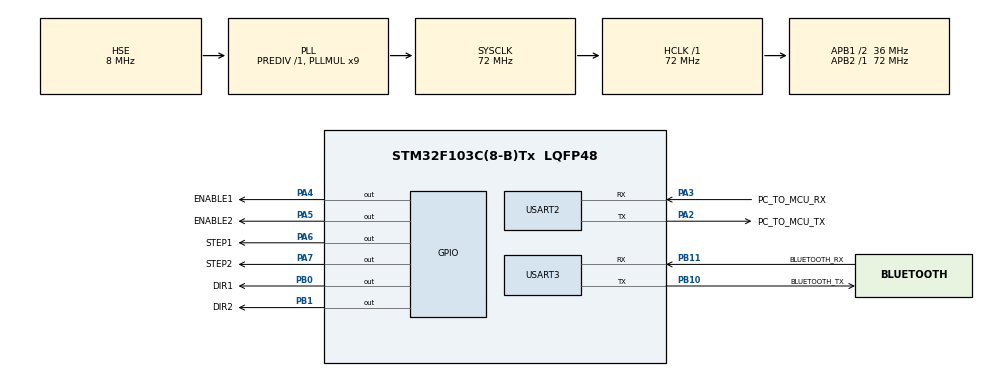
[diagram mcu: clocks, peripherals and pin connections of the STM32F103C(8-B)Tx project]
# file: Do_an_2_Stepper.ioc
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Dma.Request0=USART2_RX
Dma.Request1=USART2_TX
Dma.Request2=USART3_RX
Dma.Request3=USART3_TX
Dma.USART2_RX.0.Direction=DMA_PERIPH_TO_MEMORY
Dma.USART2_RX.0.Instance=DMA1_Channel6
Dma.USART2_RX.0.MemDataAlignment=DMA_MDATAALIGN_BYTE
Dma.USART2_RX.0.MemInc=DMA_MINC_ENABLE
Dma.USART2_RX.0.Mode=DMA_CIRCULAR
Dma.USART2_RX.0.PeriphDataAlignment=DMA_PDATAALIGN_BYTE
Dma.USART2_RX.0.PeriphInc=DMA_PINC_DISABLE
Dma.USART2_RX.0.Priority=DMA_PRIORITY_LOW
Dma.USART2_TX.1.Direction=DMA_MEMORY_TO_PERIPH
Dma.USART2_TX.1.Instance=DMA1_Channel7
Dma.USART2_TX.1.MemDataAlignment=DMA_MDATAALIGN_BYTE
Dma.USART2_TX.1.MemInc=DMA_MINC_ENABLE
Dma.USART2_TX.1.Mode=DMA_NORMAL
Dma.USART2_TX.1.PeriphDataAlignment=DMA_PDATAALIGN_BYTE
Dma.USART2_TX.1.PeriphInc=DMA_PINC_DISABLE
Dma.USART2_TX.1.Priority=DMA_PRIORITY_LOW
Dma.USART3_RX.2.Direction=DMA_PERIPH_TO_MEMORY
Dma.USART3_RX.2.Instance=DMA1_Channel3
Dma.USART3_RX.2.MemDataAlignment=DMA_MDATAALIGN_BYTE
Dma.USART3_RX.2.MemInc=DMA_MINC_ENABLE
Dma.USART3_RX.2.Mode=DMA_CIRCULAR
Dma.USART3_RX.2.PeriphDataAlignment=DMA_PDATAALIGN_BYTE
Dma.USART3_RX.2.PeriphInc=DMA_PINC_DISABLE
Dma.USART3_RX.2.Priority=DMA_PRIORITY_LOW
Dma.USART3_TX.3.Direction=DMA_MEMORY_TO_PERIPH
Dma.USART3_TX.3.Instance=DMA1_Channel2
Dma.USART3_TX.3.MemDataAlignment=DMA_MDATAALIGN_BYTE
Dma.USART3_TX.3.MemInc=DMA_MINC_ENABLE
Dma.USART3_TX.3.Mode=DMA_NORMAL
Dma.USART3_TX.3.PeriphDataAlignment=DMA_PDATAALIGN_BYTE
Dma.USART3_TX.3.PeriphInc=DMA_PINC_DISABLE
Dma.USART3_TX.3.Priority=DMA_PRIORITY_LOW
Mcu.Family=STM32F1
Mcu.Name=STM32F103C(8-B)Tx
Mcu.Package=LQFP48
NVIC.DMA1_Channel2_IRQn=true\:0\:0\:false\:false\:true\:false\:true\:true
NVIC.DMA1_Channel3_IRQn=true\:0\:0\:false\:false\:true\:false\:true\:true
NVIC.DMA1_Channel6_IRQn=true\:0\:0\:false\:false\:true\:false\:true\:true
NVIC.DMA1_Channel7_IRQn=true\:0\:0\:false\:false\:true\:false\:true\:true
NVIC.PriorityGroup=NVIC_PRIORITYGROUP_4
NVIC.TIM2_IRQn=true\:0\:0\:true\:false\:true\:true\:true\:true
NVIC.TIM3_IRQn=true\:0\:0\:false\:false\:true\:true\:true\:true
NVIC.USART2_IRQn=true\:0\:0\:true\:false\:true\:true\:true\:true
NVIC.USART3_IRQn=true\:0\:0\:true\:false\:true\:true\:true\:true
PA13.Mode=Serial_Wire
PA13.Signal=SYS_JTMS-SWDIO
PA14.Mode=Serial_Wire
PA14.Signal=SYS_JTCK-SWCLK
PA2.GPIO_Label=PC_TO_MCU_TX
PA2.Mode=Asynchronous
PA2.Signal=USART2_TX
PA3.GPIO_Label=PC_TO_MCU_RX
PA3.Mode=Asynchronous
PA3.Signal=USART2_RX
PA4.GPIO_Label=ENABLE1
PA4.Signal=GPIO_Output
PA5.GPIO_Label=ENABLE2
PA5.Signal=GPIO_Output
PA6.GPIO_Label=STEP1
PA6.Signal=GPIO_Output
PA7.GPIO_Label=STEP2
PA7.Signal=GPIO_Output
PB0.GPIO_Label=DIR1
PB0.Signal=GPIO_Output
PB1.GPIO_Label=DIR2
PB1.Signal=GPIO_Output
PB10.GPIO_Label=BLUETOOTH_TX
PB10.Mode=Asynchronous
PB10.Signal=USART3_TX
PB11.GPIO_Label=BLUETOOTH_RX
PB11.Mode=Asynchronous
PB11.Signal=USART3_RX
PD0-OSC_IN.Mode=HSE-External-Oscillator
PD0-OSC_IN.Signal=RCC_OSC_IN
PD1-OSC_OUT.Mode=HSE-External-Oscillator
PD1-OSC_OUT.Signal=RCC_OSC_OUT
ProjectManager.HeapSize=0x200
ProjectManager.StackSize=0x400
ProjectManager.TargetToolchain=STM32CubeIDE
RCC.AHBFreq_Value=72000000
RCC.APB1CLKDivider=RCC_HCLK_DIV2
RCC.APB1Freq_Value=36000000
RCC.APB1TimFreq_Value=72000000
RCC.APB2Freq_Value=72000000
RCC.APB2TimFreq_Value=72000000
RCC.HCLKFreq_Value=72000000
RCC.PLLMUL=RCC_PLL_MUL9
RCC.PLLSourceVirtual=RCC_PLLSOURCE_HSE
RCC.SYSCLKFreq_VALUE=72000000
RCC.SYSCLKSource=RCC_SYSCLKSOURCE_PLLCLK
RCC.USBFreq_Value=72000000
TIM2.Period=2000-1
TIM2.Prescaler=720-1
TIM3.Period=20-1
TIM3.Prescaler=36-1
USART2.VirtualMode=VM_ASYNC
USART3.VirtualMode=VM_ASYNC
VP_TIM2_VS_ClockSourceINT.Mode=Internal
VP_TIM3_VS_ClockSourceINT.Mode=Internal
board=custom

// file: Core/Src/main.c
/* USER CODE BEGIN Header */
/**
  ******************************************************************************
  * @file           : main.c
  * @brief          : Main program body
  ******************************************************************************
  * @attention
  *
  * Copyright (c) 2024 STMicroelectronics.
  * All rights reserved.
  *
  * This software is licensed under terms that can be found in the LICENSE file
  * in the root directory of this software component.
  * If no LICENSE file comes with this software, it is provided AS-IS.
  *
  ******************************************************************************
  */
/* USER CODE END Header */
#include "main.h"

/* USER CODE BEGIN Includes */
#include "math.h"
#include "stdlib.h"
#include "stdio.h"
#include "string.h"
#include "Robot_control.h"
/* USER CODE END Includes */

/* USER CODE BEGIN PTD */

#define CalibR 0
#define Test_UART_Receive 0
#define Test_UART_Transmit 0

//////
#define MAX_RPM 380
#define PULSE_PER_ROUND 200
#define PI 3.141592654f

/* USER CODE END PTD */

TIM_HandleTypeDef htim2;
TIM_HandleTypeDef htim3;

UART_HandleTypeDef huart2;
UART_HandleTypeDef huart3;
DMA_HandleTypeDef hdma_usart2_rx;
DMA_HandleTypeDef hdma_usart2_tx;
DMA_HandleTypeDef hdma_usart3_rx;
DMA_HandleTypeDef hdma_usart3_tx;

/* USER CODE BEGIN PV */
//int8_t Dir_M1, Dir_M2, Dir_M3;                                               //Biến xác định hoạt động của động cơ và chi�?u quay Dir_Mx >0 quay thuận , Dir_Mx <0 quay ngược Dir_Mx =0 motor ngừng quay
//volatile int16_t Count_timer1, Count_timer2;                       //đếm các lần TIMER xuất hiện trong chu kỳ xung STEP
//volatile int32_t Step1, Step2, Step3;
//int16_t Count_TOP1, Count_BOT1, Count_TOP2, Count_BOT2;  //vị trí cuối của phần cao và cuối phần thấp trong 1 chu kỳ xung STEP

StepperHandlle_Typedef Stepper1;
StepperHandlle_Typedef Stepper2;

uint8_t tx_buffer2[64];
uint8_t rx_buffer2[64];
uint8_t final_rx_buffer2[64];
uint8_t bluetooth_rx_buffer[8];
uint8_t bluetooth_tx_buffer[64];
Robot_model_typedef R;
uint8_t timer2_int;
uint8_t timer3_int;
int8_t bluetooth_allow_tx;
int8_t bluetooth_rx_check;
int8_t uart2_allow_tx;
int8_t uart2_rx_check;
volatile uint8_t c_index;

/* USER CODE END PV */

void SystemClock_Config(void);
static void MX_GPIO_Init(void);
static void MX_DMA_Init(void);
static void MX_TIM3_Init(void);
static void MX_USART2_UART_Init(void);
static void MX_USART3_UART_Init(void);
static void MX_TIM2_Init(void);
/* USER CODE BEGIN PFP */
void HAL_TIM_PeriodElapsedCallback(TIM_HandleTypeDef *htim)
{
	if(htim->Instance==TIM3)
	{
		timer3_int=1;
	}
	else if(htim->Instance==TIM2)
	{
		timer2_int=1;
	}
}

void HAL_UART_RxHalfCpltCallback(UART_HandleTypeDef *huart)
{
	if(huart->Instance==USART2)
	{
		memcpy(final_rx_buffer2,rx_buffer2,32);
	}
}

void HAL_UART_RxCpltCallback(UART_HandleTypeDef *huart)
{
	if(huart->Instance==USART1)
	{

	}
	else if(huart->Instance==USART2)
	{
		memcpy(final_rx_buffer2+32,rx_buffer2+32,32);
		uart2_rx_check=1;
	}
	else if(huart->Instance==USART3)
	{
		bluetooth_rx_check=1;
	}
}
/* USER CODE END PFP */

/* USER CODE BEGIN 0 */
void StepperSpeed(float v,StepperHandlle_Typedef *Stepper,controlDirection con)//(-200<y<200)
{
	float pps=v*200/60;
	float a=50000/pps;

    if (a < 0)
    {
    	Stepper->Dir_M = -1;
    }
    else if (a > 0)
    {
    	Stepper->Dir_M = 1;
    }
	else
		Stepper->Dir_M = 0;
    Stepper->Dir_M*=con;
	Stepper->Count_BOT = abs((int)a);
	Stepper->Count_TOP =  abs((int)a/2);
}

void ReadStepper(StepperHandlle_Typedef *stepper,readDirection read)
{
	stepper->delta_step=stepper->Step-stepper->previous_step;
	stepper->delta_step*=read;
	stepper->distance=((float)stepper->delta_step)/PULSE_PER_ROUND*2*PI*WHEEL_RADIUS;
	stepper->previous_step=stepper->Step;
}

void DealTimer3()
{
#if CalibR==1
		    	  if(Stepper1.Step==2000)
		    	  {
		    		  StepperSpeed(0,&Stepper1, STEPPER1_CONTROL);
		    		  StepperSpeed(0, &Stepper2, STEPPER2_CONTROL);
		    	  }
#endif
		if (Stepper1.Dir_M != 0)
		{                                                          //nếu MOTOR cho phép quay
			HAL_GPIO_WritePin(ENABLE1_GPIO_Port, ENABLE1_Pin, 0);
		    if (Stepper1.Dir_M > 0)
			{
		    	HAL_GPIO_WritePin(DIR1_GPIO_Port, DIR1_Pin, 1);
			}
		    else if (Stepper1.Dir_M < 0)
		    {
		    	HAL_GPIO_WritePin(DIR1_GPIO_Port,DIR1_Pin,0);
		    }
		    Stepper1.Count_timer++;
		    if (Stepper1.Count_timer <= Stepper1.Count_TOP)
		    	HAL_GPIO_WritePin(STEP1_GPIO_Port, STEP1_Pin, 1);//nếu là nhịp nằm trong phần cao trong xung STEP
		    else
		    	HAL_GPIO_WritePin(STEP1_GPIO_Port, STEP1_Pin, 0);                                                 //nếu là nhịp nằm trong phần thấp của xung STEP
		    if (Stepper1.Count_timer > Stepper1.Count_BOT)
		    {
		      Stepper1.Count_timer = 0;                             //nếu là nhịp cuối của 1 xung STEP
		      if (Stepper1.Dir_M > 0)
		      {
		    	  Stepper1.Step++;
		      }
		      else if (Stepper1.Dir_M < 0)
		      {
		    	  Stepper1.Step--;
		      }
		    }
		}
		else
		{
			HAL_GPIO_WritePin(ENABLE1_GPIO_Port,ENABLE1_Pin, 1);
		}
		if(Stepper2.Dir_M!=0)
		{
			HAL_GPIO_WritePin(ENABLE2_GPIO_Port, ENABLE2_Pin, 0);
			if (Stepper2.Dir_M > 0)
			{
				HAL_GPIO_WritePin(DIR2_GPIO_Port, DIR2_Pin, 1);
			}
			else if (Stepper2.Dir_M < 0)
			{
				HAL_GPIO_WritePin(DIR2_GPIO_Port,DIR2_Pin,0);
			}
			Stepper2.Count_timer++;
			if (Stepper2.Count_timer <= Stepper2.Count_TOP)
				HAL_GPIO_WritePin(STEP2_GPIO_Port, STEP2_Pin, 1);//nếu là nhịp nằm trong phần cao trong xung STEP
			else
				HAL_GPIO_WritePin(STEP2_GPIO_Port, STEP2_Pin, 0);                                                 //nếu là nhịp nằm trong phần thấp của xung STEP
			if (Stepper2.Count_timer > Stepper2.Count_BOT)
			{
			  Stepper2.Count_timer = 0;                             //nếu là nhịp cuối của 1 xung STEP
			  if (Stepper2.Dir_M > 0)
			  {
				  Stepper2.Step++;
			  }
			  else if (Stepper2.Dir_M < 0)
			  {
				  Stepper2.Step--;
			  }
			}
		}
		else
		{
			HAL_GPIO_WritePin(ENABLE2_GPIO_Port,ENABLE2_Pin, 1);
		}
}

void DealTimer2()
{
	ReadStepper(&Stepper1,STEPPER1_READ);
	ReadStepper(&Stepper2,STEPPER2_READ);
	calculatePredictionValue(&R, Stepper1.distance,Stepper2.distance);
#if Test_UART_Receive==0
#if Test_UART_Transmit==0
	sprintf((char*)tx_buffer2,"%f/%f/%f\n",(R.x_prediction-R.x_correction),(R.y_prediction-R.y_correction),(R.theta_prediction-R.theta_correction));
#endif
#if Test_UART_Transmit==1
	sprintf((char*)tx_buffer2,"%f/%f/%f\n",1.0f,1.0f,1.0f);
#endif

	HAL_UART_Transmit_DMA(&huart2, tx_buffer2, strlen((char*)tx_buffer2));
#endif
}
/* USER CODE END 0 */

int main(void)
{

  /* MCU Configuration--------------------------------------------------------*/

  /* Reset of all peripherals, Initializes the Flash interface and the Systick. */
  HAL_Init();

  /* Configure the system clock */
  SystemClock_Config();

  /* Initialize all configured peripherals */
  MX_GPIO_Init();
  MX_DMA_Init();
  MX_TIM3_Init();
  MX_USART2_UART_Init();
  MX_USART3_UART_Init();
  MX_TIM2_Init();
  /* USER CODE BEGIN 2 */
#if CalibR ==1
  Stepper1.Step=0;
  Stepper1.previous_step=0;
  Stepper2.Step=0;
  Stepper2.previous_step=0;
#endif
  HAL_TIM_Base_Start_IT(&htim3);
  HAL_TIM_Base_Start_IT(&htim2);
  HAL_UART_Receive_DMA(&huart2, rx_buffer2, 64);
  HAL_UART_Receive_DMA(&huart3, bluetooth_rx_buffer, 1);
#if CalibR==1
  StepperSpeed(10, &Stepper1,STEPPER1_CONTROL);
  StepperSpeed(10, &Stepper2,STEPPER2_CONTROL);
#endif
  /* USER CODE END 2 */

  /* Infinite loop */
  while (1)
  {

    /* USER CODE BEGIN 3 */

	if(timer3_int==1)
	{
		DealTimer3();
		timer3_int=0;
	}
	if(timer2_int==1)
	{
		DealTimer2();
		timer2_int=0;
	}
	if(uart2_rx_check==1)
	{
		char *end;
		R.x_correction=strtof((char*)final_rx_buffer2,&end);
		R.y_correction=strtof(end,&end);
		R.theta_correction=strtof(end,NULL);
		R.x_prediction=R.x_correction;
		R.y_prediction=R.y_correction;
		R.theta_prediction=R.theta_correction;
#if Test_UART_Receive==1
		sprintf((char*)tx_buffer2,"%f/%f/%f\n",(R.x_correction),(R.y_correction),(R.theta_correction));
		HAL_UART_Transmit_DMA(&huart2, tx_buffer2, strlen((char*)tx_buffer2));
#endif
		uart2_rx_check=0;
	}
	if(bluetooth_rx_check==1)
	{
		BluetoothFrameHandler(bluetooth_rx_buffer,bluetooth_tx_buffer,&R);
		bluetooth_rx_check=0;
	}
	if(bluetooth_allow_tx==1)
	{
		sprintf((char*)bluetooth_tx_buffer,"%f/%f/%f\n",R.x_correction,R.y_correction,R.theta_correction);
		HAL_UART_Transmit_DMA(&huart3, bluetooth_tx_buffer,strlen((char*)bluetooth_tx_buffer));
		bluetooth_allow_tx=0;
	}
  }
  /* USER CODE END 3 */
}

void SystemClock_Config(void)
{
  RCC_OscInitTypeDef RCC_OscInitStruct = {0};
  RCC_ClkInitTypeDef RCC_ClkInitStruct = {0};

  /** Initializes the RCC Oscillators according to the specified parameters
  * in the RCC_OscInitTypeDef structure.
  */
  RCC_OscInitStruct.OscillatorType = RCC_OSCILLATORTYPE_HSE;
  RCC_OscInitStruct.HSEState = RCC_HSE_ON;
  RCC_OscInitStruct.HSEPredivValue = RCC_HSE_PREDIV_DIV1;
  RCC_OscInitStruct.HSIState = RCC_HSI_ON;
  RCC_OscInitStruct.PLL.PLLState = RCC_PLL_ON;
  RCC_OscInitStruct.PLL.PLLSource = RCC_PLLSOURCE_HSE;
  RCC_OscInitStruct.PLL.PLLMUL = RCC_PLL_MUL9;
  if (HAL_RCC_OscConfig(&RCC_OscInitStruct) != HAL_OK)
  {
    Error_Handler();
  }

  /** Initializes the CPU, AHB and APB buses clocks
  */
  RCC_ClkInitStruct.ClockType = RCC_CLOCKTYPE_HCLK|RCC_CLOCKTYPE_SYSCLK
                              |RCC_CLOCKTYPE_PCLK1|RCC_CLOCKTYPE_PCLK2;
  RCC_ClkInitStruct.SYSCLKSource = RCC_SYSCLKSOURCE_PLLCLK;
  RCC_ClkInitStruct.AHBCLKDivider = RCC_SYSCLK_DIV1;
  RCC_ClkInitStruct.APB1CLKDivider = RCC_HCLK_DIV2;
  RCC_ClkInitStruct.APB2CLKDivider = RCC_HCLK_DIV1;

  if (HAL_RCC_ClockConfig(&RCC_ClkInitStruct, FLASH_LATENCY_2) != HAL_OK)
  {
    Error_Handler();
  }
}

static void MX_TIM2_Init(void)
{

  TIM_ClockConfigTypeDef sClockSourceConfig = {0};
  TIM_MasterConfigTypeDef sMasterConfig = {0};

  htim2.Instance = TIM2;
  htim2.Init.Prescaler = 720-1;
  htim2.Init.CounterMode = TIM_COUNTERMODE_UP;
  htim2.Init.Period = 2000-1;
  htim2.Init.ClockDivision = TIM_CLOCKDIVISION_DIV1;
  htim2.Init.AutoReloadPreload = TIM_AUTORELOAD_PRELOAD_DISABLE;
  if (HAL_TIM_Base_Init(&htim2) != HAL_OK)
  {
    Error_Handler();
  }
  sClockSourceConfig.ClockSource = TIM_CLOCKSOURCE_INTERNAL;
  if (HAL_TIM_ConfigClockSource(&htim2, &sClockSourceConfig) != HAL_OK)
  {
    Error_Handler();
  }
  sMasterConfig.MasterOutputTrigger = TIM_TRGO_RESET;
  sMasterConfig.MasterSlaveMode = TIM_MASTERSLAVEMODE_DISABLE;
  if (HAL_TIMEx_MasterConfigSynchronization(&htim2, &sMasterConfig) != HAL_OK)
  {
    Error_Handler();
  }

}

static void MX_TIM3_Init(void)
{

  TIM_ClockConfigTypeDef sClockSourceConfig = {0};
  TIM_MasterConfigTypeDef sMasterConfig = {0};

  htim3.Instance = TIM3;
  htim3.Init.Prescaler = 36-1;
  htim3.Init.CounterMode = TIM_COUNTERMODE_UP;
  htim3.Init.Period = 20-1;
  htim3.Init.ClockDivision = TIM_CLOCKDIVISION_DIV1;
  htim3.Init.AutoReloadPreload = TIM_AUTORELOAD_PRELOAD_DISABLE;
  if (HAL_TIM_Base_Init(&htim3) != HAL_OK)
  {
    Error_Handler();
  }
  sClockSourceConfig.ClockSource = TIM_CLOCKSOURCE_INTERNAL;
  if (HAL_TIM_ConfigClockSource(&htim3, &sClockSourceConfig) != HAL_OK)
  {
    Error_Handler();
  }
  sMasterConfig.MasterOutputTrigger = TIM_TRGO_RESET;
  sMasterConfig.MasterSlaveMode = TIM_MASTERSLAVEMODE_DISABLE;
  if (HAL_TIMEx_MasterConfigSynchronization(&htim3, &sMasterConfig) != HAL_OK)
  {
    Error_Handler();
  }

}

static void MX_USART2_UART_Init(void)
{

  huart2.Instance = USART2;
  huart2.Init.BaudRate = 115200;
  huart2.Init.WordLength = UART_WORDLENGTH_8B;
  huart2.Init.StopBits = UART_STOPBITS_1;
  huart2.Init.Parity = UART_PARITY_NONE;
  huart2.Init.Mode = UART_MODE_TX_RX;
  huart2.Init.HwFlowCtl = UART_HWCONTROL_NONE;
  huart2.Init.OverSampling = UART_OVERSAMPLING_16;
  if (HAL_UART_Init(&huart2) != HAL_OK)
  {
    Error_Handler();
  }

}

static void MX_USART3_UART_Init(void)
{

  huart3.Instance = USART3;
  huart3.Init.BaudRate = 115200;
  huart3.Init.WordLength = UART_WORDLENGTH_8B;
  huart3.Init.StopBits = UART_STOPBITS_1;
  huart3.Init.Parity = UART_PARITY_NONE;
  huart3.Init.Mode = UART_MODE_TX_RX;
  huart3.Init.HwFlowCtl = UART_HWCONTROL_NONE;
  huart3.Init.OverSampling = UART_OVERSAMPLING_16;
  if (HAL_UART_Init(&huart3) != HAL_OK)
  {
    Error_Handler();
  }

}

static void MX_DMA_Init(void)
{

  /* DMA controller clock enable */
  __HAL_RCC_DMA1_CLK_ENABLE();

  /* DMA interrupt init */
  /* DMA1_Channel2_IRQn interrupt configuration */
  HAL_NVIC_SetPriority(DMA1_Channel2_IRQn, 0, 0);
  HAL_NVIC_EnableIRQ(DMA1_Channel2_IRQn);
  /* DMA1_Channel3_IRQn interrupt configuration */
  HAL_NVIC_SetPriority(DMA1_Channel3_IRQn, 0, 0);
  HAL_NVIC_EnableIRQ(DMA1_Channel3_IRQn);
  /* DMA1_Channel6_IRQn interrupt configuration */
  HAL_NVIC_SetPriority(DMA1_Channel6_IRQn, 0, 0);
  HAL_NVIC_EnableIRQ(DMA1_Channel6_IRQn);
  /* DMA1_Channel7_IRQn interrupt configuration */
  HAL_NVIC_SetPriority(DMA1_Channel7_IRQn, 0, 0);
  HAL_NVIC_EnableIRQ(DMA1_Channel7_IRQn);

}

static void MX_GPIO_Init(void)
{
  GPIO_InitTypeDef GPIO_InitStruct = {0};

  /* GPIO Ports Clock Enable */
  __HAL_RCC_GPIOD_CLK_ENABLE();
  __HAL_RCC_GPIOA_CLK_ENABLE();
  __HAL_RCC_GPIOB_CLK_ENABLE();

  /*Configure GPIO pin Output Level */
  HAL_GPIO_WritePin(GPIOA, ENABLE1_Pin|ENABLE2_Pin|STEP1_Pin|STEP2_Pin, GPIO_PIN_RESET);

  /*Configure GPIO pin Output Level */
  HAL_GPIO_WritePin(GPIOB, DIR1_Pin|DIR2_Pin, GPIO_PIN_RESET);

  /*Configure GPIO pins : ENABLE1_Pin ENABLE2_Pin STEP1_Pin STEP2_Pin */
  GPIO_InitStruct.Pin = ENABLE1_Pin|ENABLE2_Pin|STEP1_Pin|STEP2_Pin;
  GPIO_InitStruct.Mode = GPIO_MODE_OUTPUT_PP;
  GPIO_InitStruct.Pull = GPIO_NOPULL;
  GPIO_InitStruct.Speed = GPIO_SPEED_FREQ_LOW;
  HAL_GPIO_Init(GPIOA, &GPIO_InitStruct);

  /*Configure GPIO pins : DIR1_Pin DIR2_Pin */
  GPIO_InitStruct.Pin = DIR1_Pin|DIR2_Pin;
  GPIO_InitStruct.Mode = GPIO_MODE_OUTPUT_PP;
  GPIO_InitStruct.Pull = GPIO_NOPULL;
  GPIO_InitStruct.Speed = GPIO_SPEED_FREQ_LOW;
  HAL_GPIO_Init(GPIOB, &GPIO_InitStruct);

}

void Error_Handler(void)
{
  __disable_irq();
  while (1)
  {
  }
}
